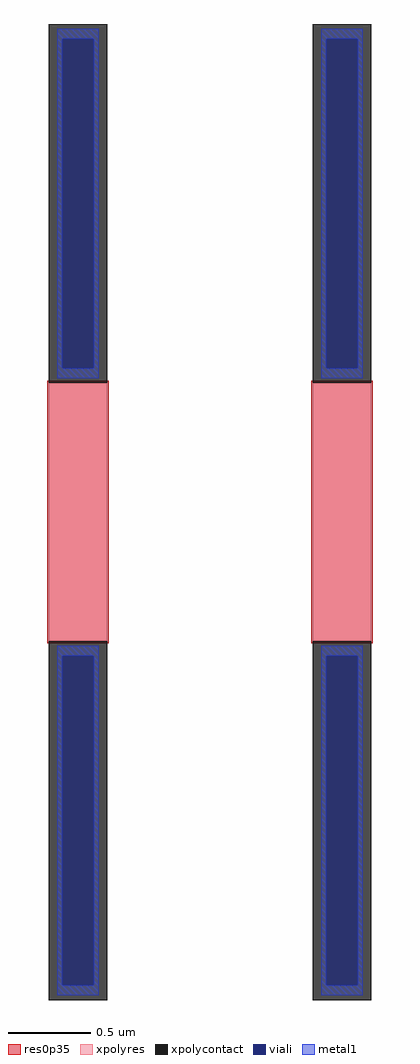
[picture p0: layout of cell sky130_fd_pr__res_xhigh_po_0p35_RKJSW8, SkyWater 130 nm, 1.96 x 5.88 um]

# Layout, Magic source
magic
tech sky130A
magscale 1 2
<< xpolycontact >>
rect -194 156 -124 588
rect -194 -588 -124 -156
rect 124 156 194 588
rect 124 -588 194 -156
<< xpolyres >>
rect -194 -156 -124 156
rect 124 -156 194 156
<< viali >>
rect -178 173 -140 570
rect 140 173 178 570
rect -178 -570 -140 -173
rect 140 -570 178 -173
<< metal1 >>
rect -184 570 -134 582
rect -184 173 -178 570
rect -140 173 -134 570
rect -184 161 -134 173
rect 134 570 184 582
rect 134 173 140 570
rect 178 173 184 570
rect 134 161 184 173
rect -184 -173 -134 -161
rect -184 -570 -178 -173
rect -140 -570 -134 -173
rect -184 -582 -134 -570
rect 134 -173 184 -161
rect 134 -570 140 -173
rect 178 -570 184 -173
rect 134 -582 184 -570
<< res0p35 >>
rect -196 -158 -122 158
rect 122 -158 196 158
<< properties >>
string gencell sky130_fd_pr__res_xhigh_po_0p35
string library sky130
string parameters w 0.350 l 1.56 m 1 nx 2 wmin 0.350 lmin 0.50 rho 2000 val 9.989k dummy 0 dw 0.0 term 188.2 sterm 0.0 caplen 0 wmax 0.350 guard 0 glc 1 grc 1 gtc 1 gbc 1 compatible {sky130_fd_pr__res_xhigh_po_0p35  sky130_fd_pr__res_xhigh_po_0p69 sky130_fd_pr__res_xhigh_po_1p41  sky130_fd_pr__res_xhigh_po_2p85 sky130_fd_pr__res_xhigh_po_5p73} full_metal 1 n_guard 0 hv_guard 0 vias 1 viagb 0 viagt 0 viagl 0 viagr 0
<< end >>
